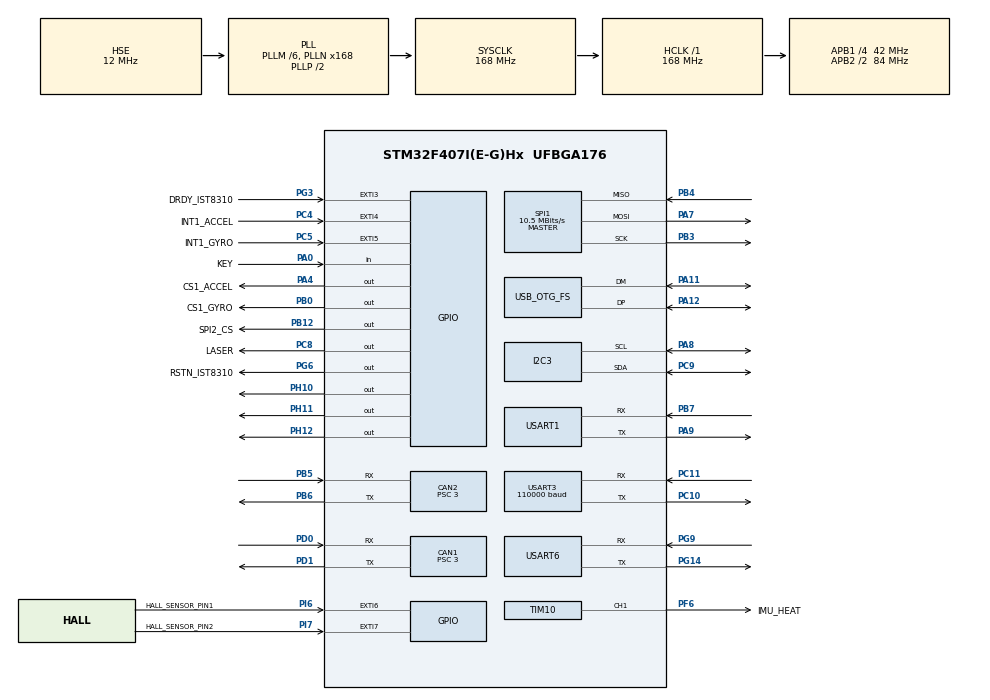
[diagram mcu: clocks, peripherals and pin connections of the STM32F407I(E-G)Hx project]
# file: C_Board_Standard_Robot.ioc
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CAN1.BS1=CAN_BS1_10TQ
CAN1.BS2=CAN_BS2_3TQ
CAN1.CalculateBaudRate=1000000
CAN1.CalculateTimeBit=1000
CAN1.CalculateTimeQuantum=71.42857142857143
CAN1.Prescaler=3
CAN2.BS1=CAN_BS1_10TQ
CAN2.BS2=CAN_BS2_3TQ
CAN2.CalculateBaudRate=1000000
CAN2.CalculateTimeBit=1000
CAN2.CalculateTimeQuantum=71.42857142857143
CAN2.Prescaler=3
Dma.Request0=SPI1_RX
Dma.Request1=SPI1_TX
Dma.Request2=USART1_RX
Dma.Request3=USART1_TX
Dma.Request4=USART3_RX
Dma.Request5=USART3_TX
Dma.Request6=USART6_RX
Dma.Request7=USART6_TX
Dma.SPI1_RX.0.Direction=DMA_PERIPH_TO_MEMORY
Dma.SPI1_RX.0.FIFOMode=DMA_FIFOMODE_DISABLE
Dma.SPI1_RX.0.Instance=DMA2_Stream0
Dma.SPI1_RX.0.MemDataAlignment=DMA_MDATAALIGN_BYTE
Dma.SPI1_RX.0.MemInc=DMA_MINC_ENABLE
Dma.SPI1_RX.0.Mode=DMA_NORMAL
Dma.SPI1_RX.0.PeriphDataAlignment=DMA_PDATAALIGN_BYTE
Dma.SPI1_RX.0.PeriphInc=DMA_PINC_DISABLE
Dma.SPI1_RX.0.Priority=DMA_PRIORITY_VERY_HIGH
Dma.SPI1_TX.1.Direction=DMA_MEMORY_TO_PERIPH
Dma.SPI1_TX.1.FIFOMode=DMA_FIFOMODE_DISABLE
Dma.SPI1_TX.1.Instance=DMA2_Stream3
Dma.SPI1_TX.1.MemDataAlignment=DMA_MDATAALIGN_BYTE
Dma.SPI1_TX.1.MemInc=DMA_MINC_ENABLE
Dma.SPI1_TX.1.Mode=DMA_NORMAL
Dma.SPI1_TX.1.PeriphDataAlignment=DMA_PDATAALIGN_BYTE
Dma.SPI1_TX.1.PeriphInc=DMA_PINC_DISABLE
Dma.SPI1_TX.1.Priority=DMA_PRIORITY_HIGH
Dma.USART1_RX.2.Direction=DMA_PERIPH_TO_MEMORY
Dma.USART1_RX.2.FIFOMode=DMA_FIFOMODE_DISABLE
Dma.USART1_RX.2.Instance=DMA2_Stream2
Dma.USART1_RX.2.MemDataAlignment=DMA_MDATAALIGN_BYTE
Dma.USART1_RX.2.MemInc=DMA_MINC_ENABLE
Dma.USART1_RX.2.Mode=DMA_NORMAL
Dma.USART1_RX.2.PeriphDataAlignment=DMA_PDATAALIGN_BYTE
Dma.USART1_RX.2.PeriphInc=DMA_PINC_DISABLE
Dma.USART1_RX.2.Priority=DMA_PRIORITY_VERY_HIGH
Dma.USART1_TX.3.Direction=DMA_MEMORY_TO_PERIPH
Dma.USART1_TX.3.FIFOMode=DMA_FIFOMODE_DISABLE
Dma.USART1_TX.3.Instance=DMA2_Stream7
Dma.USART1_TX.3.MemDataAlignment=DMA_MDATAALIGN_BYTE
Dma.USART1_TX.3.MemInc=DMA_MINC_ENABLE
Dma.USART1_TX.3.Mode=DMA_NORMAL
Dma.USART1_TX.3.PeriphDataAlignment=DMA_PDATAALIGN_BYTE
Dma.USART1_TX.3.PeriphInc=DMA_PINC_DISABLE
Dma.USART1_TX.3.Priority=DMA_PRIORITY_LOW
Dma.USART3_RX.4.Direction=DMA_PERIPH_TO_MEMORY
Dma.USART3_RX.4.FIFOMode=DMA_FIFOMODE_DISABLE
Dma.USART3_RX.4.Instance=DMA1_Stream1
Dma.USART3_RX.4.MemDataAlignment=DMA_MDATAALIGN_BYTE
Dma.USART3_RX.4.MemInc=DMA_MINC_ENABLE
Dma.USART3_RX.4.Mode=DMA_NORMAL
Dma.USART3_RX.4.PeriphDataAlignment=DMA_PDATAALIGN_BYTE
Dma.USART3_RX.4.PeriphInc=DMA_PINC_DISABLE
Dma.USART3_RX.4.Priority=DMA_PRIORITY_VERY_HIGH
Dma.USART3_TX.5.Direction=DMA_MEMORY_TO_PERIPH
Dma.USART3_TX.5.FIFOMode=DMA_FIFOMODE_DISABLE
Dma.USART3_TX.5.Instance=DMA1_Stream3
Dma.USART3_TX.5.MemDataAlignment=DMA_MDATAALIGN_BYTE
Dma.USART3_TX.5.MemInc=DMA_MINC_ENABLE
Dma.USART3_TX.5.Mode=DMA_NORMAL
Dma.USART3_TX.5.PeriphDataAlignment=DMA_PDATAALIGN_BYTE
Dma.USART3_TX.5.PeriphInc=DMA_PINC_DISABLE
Dma.USART3_TX.5.Priority=DMA_PRIORITY_LOW
Dma.USART6_RX.6.Direction=DMA_PERIPH_TO_MEMORY
Dma.USART6_RX.6.FIFOMode=DMA_FIFOMODE_DISABLE
Dma.USART6_RX.6.Instance=DMA2_Stream1
Dma.USART6_RX.6.MemDataAlignment=DMA_MDATAALIGN_BYTE
Dma.USART6_RX.6.MemInc=DMA_MINC_ENABLE
Dma.USART6_RX.6.Mode=DMA_NORMAL
Dma.USART6_RX.6.PeriphDataAlignment=DMA_PDATAALIGN_BYTE
Dma.USART6_RX.6.PeriphInc=DMA_PINC_DISABLE
Dma.USART6_RX.6.Priority=DMA_PRIORITY_LOW
Dma.USART6_TX.7.Direction=DMA_MEMORY_TO_PERIPH
Dma.USART6_TX.7.FIFOMode=DMA_FIFOMODE_DISABLE
Dma.USART6_TX.7.Instance=DMA2_Stream6
Dma.USART6_TX.7.MemDataAlignment=DMA_MDATAALIGN_BYTE
Dma.USART6_TX.7.MemInc=DMA_MINC_ENABLE
Dma.USART6_TX.7.Mode=DMA_NORMAL
Dma.USART6_TX.7.PeriphDataAlignment=DMA_PDATAALIGN_BYTE
Dma.USART6_TX.7.PeriphInc=DMA_PINC_DISABLE
Dma.USART6_TX.7.Priority=DMA_PRIORITY_LOW
FREERTOS.INCLUDE_eTaskGetState=1
FREERTOS.INCLUDE_pcTaskGetTaskName=1
FREERTOS.INCLUDE_uxTaskGetStackHighWaterMark=1
FREERTOS.INCLUDE_vTaskCleanUpResources=1
FREERTOS.INCLUDE_vTaskDelayUntil=1
FREERTOS.INCLUDE_xEventGroupSetBitFromISR=1
FREERTOS.INCLUDE_xQueueGetMutexHolder=1
FREERTOS.INCLUDE_xSemaphoreGetMutexHolder=1
FREERTOS.INCLUDE_xTaskAbortDelay=1
FREERTOS.INCLUDE_xTaskGetCurrentTaskHandle=1
FREERTOS.INCLUDE_xTaskGetHandle=1
FREERTOS.INCLUDE_xTimerPendFunctionCall=1
FREERTOS.Tasks01=INSTask,0,1024,StartINSTask,Default,NULL,Dynamic,NULL,NULL
FREERTOS.configTOTAL_HEAP_SIZE=24576
I2C3.I2C_Mode=I2C_Fast
Mcu.Family=STM32F4
Mcu.Name=STM32F407I(E-G)Hx
Mcu.Package=UFBGA176
NVIC.CAN1_RX0_IRQn=true\:5\:0\:false\:false\:true\:true\:true\:true\:true
NVIC.CAN1_TX_IRQn=true\:5\:0\:false\:false\:true\:true\:true\:true\:true
NVIC.CAN2_RX0_IRQn=true\:5\:0\:false\:false\:true\:true\:true\:true\:true
NVIC.CAN2_TX_IRQn=true\:5\:0\:false\:false\:true\:true\:true\:true\:true
NVIC.DMA1_Stream1_IRQn=true\:5\:0\:false\:false\:true\:true\:false\:true\:true
NVIC.DMA1_Stream3_IRQn=true\:5\:0\:false\:false\:true\:true\:false\:true\:true
NVIC.DMA2_Stream0_IRQn=true\:5\:0\:false\:false\:true\:true\:false\:true\:true
NVIC.DMA2_Stream1_IRQn=true\:5\:0\:false\:false\:true\:true\:false\:true\:true
NVIC.DMA2_Stream2_IRQn=true\:5\:0\:true\:false\:false\:true\:false\:true\:true
NVIC.DMA2_Stream3_IRQn=true\:5\:0\:true\:false\:false\:true\:false\:true\:true
NVIC.DMA2_Stream6_IRQn=true\:5\:0\:false\:false\:true\:true\:false\:true\:true
NVIC.DMA2_Stream7_IRQn=true\:5\:0\:false\:false\:true\:true\:false\:true\:true
NVIC.EXTI3_IRQn=true\:5\:0\:true\:false\:true\:true\:true\:true\:true
NVIC.EXTI4_IRQn=true\:5\:0\:true\:false\:true\:true\:true\:true\:true
NVIC.EXTI9_5_IRQn=true\:5\:0\:true\:false\:true\:true\:true\:true\:true
NVIC.OTG_FS_IRQn=true\:5\:0\:false\:false\:true\:true\:true\:true\:true
NVIC.PriorityGroup=NVIC_PRIORITYGROUP_4
NVIC.SPI1_IRQn=true\:5\:0\:false\:false\:true\:true\:true\:true\:true
NVIC.TIM1_BRK_TIM9_IRQn=true\:5\:0\:false\:false\:true\:true\:true\:true\:true
NVIC.TIM1_UP_TIM10_IRQn=true\:5\:0\:false\:false\:true\:true\:true\:true\:true
NVIC.TIM3_IRQn=true\:15\:0\:false\:false\:true\:false\:false\:true\:true
NVIC.TIM8_BRK_TIM12_IRQn=true\:5\:0\:false\:false\:true\:true\:true\:true\:true
NVIC.TIM8_UP_TIM13_IRQn=true\:5\:0\:false\:false\:true\:true\:true\:true\:true
NVIC.TimeBase=TIM3_IRQn
NVIC.TimeBaseIP=TIM3
NVIC.USART1_IRQn=true\:5\:0\:false\:false\:true\:true\:true\:true\:true
NVIC.USART3_IRQn=true\:5\:0\:false\:false\:true\:true\:true\:true\:true
NVIC.USART6_IRQn=true\:5\:0\:false\:false\:true\:true\:true\:true\:true
PA0-WKUP.GPIO_Label=KEY
PA0-WKUP.GPIO_PuPd=GPIO_PULLUP
PA0-WKUP.Signal=GPIO_Input
PA11.Mode=Device_Only
PA11.Signal=USB_OTG_FS_DM
PA12.Mode=Device_Only
PA12.Signal=USB_OTG_FS_DP
PA13.Mode=Serial_Wire
PA13.Signal=SYS_JTMS-SWDIO
PA14.Mode=Serial_Wire
PA14.Signal=SYS_JTCK-SWCLK
PA4.GPIO_Label=CS1_ACCEL
PA4.GPIO_PuPd=GPIO_PULLUP
PA4.GPIO_Speed=GPIO_SPEED_FREQ_HIGH
PA4.PinState=GPIO_PIN_SET
PA4.Signal=GPIO_Output
PA7.GPIO_PuPd=GPIO_PULLUP
PA7.Mode=Full_Duplex_Master
PA7.Signal=SPI1_MOSI
PA8.Mode=I2C
PA8.Signal=I2C3_SCL
PA9.Mode=Asynchronous
PA9.Signal=USART1_TX
PB0.GPIO_Label=CS1_GYRO
PB0.GPIO_PuPd=GPIO_PULLUP
PB0.GPIO_Speed=GPIO_SPEED_FREQ_HIGH
PB0.PinState=GPIO_PIN_SET
PB0.Signal=GPIO_Output
PB12.GPIO_Label=SPI2_CS
PB12.GPIO_PuPd=GPIO_PULLUP
PB12.GPIO_Speed=GPIO_SPEED_FREQ_MEDIUM
PB12.PinState=GPIO_PIN_SET
PB12.Signal=GPIO_Output
PB3.GPIO_PuPd=GPIO_PULLUP
PB3.Mode=Full_Duplex_Master
PB3.Signal=SPI1_SCK
PB4.GPIO_PuPd=GPIO_PULLUP
PB4.Mode=Full_Duplex_Master
PB4.Signal=SPI1_MISO
PB5.Mode=CAN_Activate
PB5.Signal=CAN2_RX
PB6.Mode=CAN_Activate
PB6.Signal=CAN2_TX
PB7.Mode=Asynchronous
PB7.Signal=USART1_RX
PC10.Mode=Asynchronous
PC10.Signal=USART3_TX
PC11.Mode=Asynchronous
PC11.Signal=USART3_RX
PC4.GPIO_Label=INT1_ACCEL
PC4.GPIO_ModeDefaultEXTI=GPIO_MODE_IT_FALLING
PC4.GPIO_PuPd=GPIO_PULLUP
PC4.Signal=GPXTI4
PC5.GPIO_Label=INT1_GYRO
PC5.GPIO_ModeDefaultEXTI=GPIO_MODE_IT_FALLING
PC5.GPIO_PuPd=GPIO_PULLUP
PC5.Signal=GPXTI5
PC8.GPIO_Label=LASER
PC8.Signal=GPIO_Output
PC9.Mode=I2C
PC9.Signal=I2C3_SDA
PD0.Mode=CAN_Activate
PD0.Signal=CAN1_RX
PD1.Mode=CAN_Activate
PD1.Signal=CAN1_TX
PF6.GPIO_Label=IMU_HEAT
PF6.GPIO_PuPd=GPIO_PULLUP
PF6.GPIO_Speed=GPIO_SPEED_FREQ_HIGH
PF6.Signal=S_TIM10_CH1
PG14.Mode=Asynchronous
PG14.Signal=USART6_TX
PG3.GPIO_Label=DRDY_IST8310
PG3.GPIO_ModeDefaultEXTI=GPIO_MODE_IT_FALLING
PG3.GPIO_PuPd=GPIO_PULLUP
PG3.Signal=GPXTI3
PG6.GPIO_Label=RSTN_IST8310
PG6.GPIO_PuPd=GPIO_PULLUP
PG6.GPIO_Speed=GPIO_SPEED_FREQ_MEDIUM
PG6.PinState=GPIO_PIN_SET
PG6.Signal=GPIO_Output
PG9.Mode=Asynchronous
PG9.Signal=USART6_RX
PH0-OSC_IN.Mode=HSE-External-Oscillator
PH0-OSC_IN.Signal=RCC_OSC_IN
PH1-OSC_OUT.Mode=HSE-External-Oscillator
PH1-OSC_OUT.Signal=RCC_OSC_OUT
PH10.Signal=GPIO_Output
PH11.Signal=GPIO_Output
PH12.Signal=GPIO_Output
PI6.GPIO_Label=HALL_SENSOR_PIN1
PI6.Signal=GPXTI6
PI7.GPIO_Label=HALL_SENSOR_PIN2
PI7.Signal=GPXTI7
ProjectManager.HeapSize=0x2000
ProjectManager.StackSize=0x2000
ProjectManager.TargetToolchain=MDK-ARM V5.32
RCC.48MHZClocksFreq_Value=48000000
RCC.AHBFreq_Value=168000000
RCC.APB1CLKDivider=RCC_HCLK_DIV4
RCC.APB1Freq_Value=42000000
RCC.APB1TimFreq_Value=84000000
RCC.APB2CLKDivider=RCC_HCLK_DIV2
RCC.APB2Freq_Value=84000000
RCC.APB2TimFreq_Value=168000000
RCC.CortexFreq_Value=168000000
RCC.HCLKFreq_Value=168000000
RCC.HSE_VALUE=12000000
RCC.HSI_VALUE=16000000
RCC.LSE_VALUE=32768
RCC.PLLM=6
RCC.PLLN=168
RCC.PLLQ=7
RCC.RCC_RTC_Clock_SourceVirtual=RCC_RTCCLKSOURCE_HSE_DIV30
RCC.RCC_RTC_Clock_Source_FROM_HSE=RCC_RTCCLKSOURCE_HSE_DIV30
RCC.SYSCLKFreq_VALUE=168000000
RCC.SYSCLKSource=RCC_SYSCLKSOURCE_PLLCLK
RCC.VCOOutputFreq_Value=336000000
SH.S_TIM10_CH1.0=TIM10_CH1,PWM Generation1 CH1
SPI1.BaudRatePrescaler=SPI_BAUDRATEPRESCALER_8
SPI1.CLKPhase=SPI_PHASE_2EDGE
SPI1.CLKPolarity=SPI_POLARITY_HIGH
SPI1.CalculateBaudRate=10.5 MBits/s
SPI1.Direction=SPI_DIRECTION_2LINES
SPI1.Mode=SPI_MODE_MASTER
SPI1.VirtualType=VM_MASTER
TIM1.Period=100-1
TIM1.Prescaler=16800-1
TIM10.Channel=TIM_CHANNEL_1
TIM10.Period=2000-1
TIM10.Prescaler=84-1
TIM2.Period=100-1
TIM2.Prescaler=8400
TIM8.Period=100-1
TIM8.Prescaler=16800-1
TIM9.Period=100-1
TIM9.Prescaler=16800-1
USART1.VirtualMode=VM_ASYNC
USART3.BaudRate=110000
USART3.VirtualMode=VM_ASYNC
USART6.VirtualMode=VM_ASYNC
USB_DEVICE.CLASS_NAME_FS=CDC
USB_DEVICE.VirtualMode-CDC_FS=Cdc
USB_DEVICE.VirtualModeFS=Cdc_FS
USB_OTG_FS.VirtualMode=Device_Only
VP_FREERTOS_VS_CMSIS_V1.Mode=CMSIS_V1
VP_SYS_VS_tim3.Mode=TIM3
VP_TIM10_VS_ClockSourceINT.Mode=Enable_Timer
VP_TIM1_VS_ClockSourceINT.Mode=Internal
VP_TIM2_VS_ClockSourceINT.Mode=Internal
VP_TIM8_VS_ClockSourceINT.Mode=Internal
VP_TIM9_VS_ClockSourceINT.Mode=Internal
VP_USB_DEVICE_VS_USB_DEVICE_CDC_FS.Mode=CDC_FS
board=custom

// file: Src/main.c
/* USER CODE BEGIN Header */
/**
  ******************************************************************************
  * @file           : main.c
  * @brief          : Main program body
  ******************************************************************************
  * @attention
  *
  * Copyright (c) 2022 STMicroelectronics.
  * All rights reserved.
  *
  * This software is licensed under terms that can be found in the LICENSE file
  * in the root directory of this software component.
  * If no LICENSE file comes with this software, it is provided AS-IS.
  *
  ******************************************************************************
  */
/* USER CODE END Header */
#include "main.h"
#include "cmsis_os.h"
#include "can.h"
#include "dma.h"
#include "i2c.h"
#include "spi.h"
#include "tim.h"
#include "usart.h"
#include "usb_device.h"
#include "gpio.h"

/* USER CODE BEGIN Includes */
#include "remote_control.h"
#include "Can_user.h"
#include "ins_task.h"
/* USER CODE END Includes */

/* USER CODE BEGIN PTD */
//全局变量
uint16_t can_cnt_1;
uint16_t can_cnt_2;
float target_speed[7];//实测最大空载转速320rpm
float target_speed_can_2[7];//实测最大空载转速320rpm
moto_info_t motor_info[MOTOR_MAX_NUM];		//赋予最大的7个字节
moto_info_t motor_info_can_2[MOTOR_MAX_NUM];		//赋予最大的7个字节
pid_struct_t motor_pid[7];
pid_struct_t motor_pid_can_2[7];
pid_struct_t angle_pid;
extern uint8_t rx_buff_sj[100];

uint8_t can_flag=0;
double step=9158/660;
double r;
double sin_sita;
double cos_sita;
double target_v;
int16_t target_int1;
int16_t target_int2;//用于叠加旋转和直行
double target_curl;
float yuntai_step=60*(1024-364);

//Yaw轴
int16_t target_angle=4096;
int16_t err_angle;
float small;
float angle_limit =8191;//转角的最大值

//摩擦轮
uint8_t             rx_data[8];

//磁力计
fp32 mag[3];

//加速度计和陀螺仪
fp32 gyro[3], accel[3], temp;
uint8_t buf_accel[8]={0};
uint8_t buf_gyro[8]={0};
uint8_t pTxData;
uint8_t pRxData;
float quat[4] = {1.0f, 0.0f, 0.0f, 0.0f};
float INS_angle[3] = {0.0f, 0.0f, 0.0f};

//加速度计解算欧拉角
float roll_accel;
float pitch_accel;

//陀螺仪解算矩阵变量
//float gyro_vector[3]={0};//陀螺仪数据存储
//arm_matrix_instance_f32 gyro_matrix;//矩阵结构体

//四元素
float q0=1;
float q1=0;
float q2=0;
float q3=0;
float T;
float halfT=0.0005;
float pitch;
float roll;
float yaw;

//一些姿态解算辅助变量
						float norm;
						float gx, gy, gz;//陀螺仪
						float ax, ay, az;//加速度计
						float vx, vy, vz, wx, wy, wz;
						float ex, ey, ez;
						float exInt, eyInt, ezInt;
						float Kp=0, Ki=0;

/* USER CODE END PTD */

void SystemClock_Config(void);
void MX_FREERTOS_Init(void);

int main(void)
{

  /* MCU Configuration--------------------------------------------------------*/

  /* Reset of all peripherals, Initializes the Flash interface and the Systick. */
  HAL_Init();

  /* Configure the system clock */
  SystemClock_Config();

  /* Initialize all configured peripherals */
  MX_GPIO_Init();
  MX_DMA_Init();
  MX_SPI1_Init();
  MX_TIM10_Init();
  MX_CAN1_Init();
  MX_CAN2_Init();
  MX_I2C3_Init();
  MX_TIM1_Init();
  MX_TIM2_Init();
  MX_TIM8_Init();
  MX_TIM9_Init();
  MX_USART1_UART_Init();
  MX_USART3_UART_Init();
  MX_USART6_UART_Init();
  /* USER CODE BEGIN 2 */
		  __HAL_UART_ENABLE_IT(&huart1, UART_IT_IDLE);
	HAL_UART_Receive_DMA(&huart1, rx_buff_sj, 100);
	HAL_TIM_PWM_Start(&htim10,TIM_CHANNEL_1);

		HAL_TIM_PWM_Init(&htim1);
		HAL_TIM_Base_Start_IT(&htim1);
	HAL_TIM_PWM_Start(&htim1,TIM_CHANNEL_1);
	__HAL_TIM_SetCompare(&htim1,TIM_CHANNEL_1,3000);
	//ist8310_init();
	HAL_NVIC_SetPriority(TIM2_IRQn, 0, 0);//修改TIM2中断优先级
	can_1_user_init(&hcan1);//配置can1的过滤器
	can_2_user_init(&hcan2);//配置can2的过滤器,过滤器bank不一样
	HAL_NVIC_SetPriority(SysTick_IRQn,1,1);//调高HAL_Delay的时钟中断优先级

	HAL_TIM_Base_Start_IT(&htim1);//开启定时器1并打开中断,记得修改优先级
		    DWT_Init(168);
    while (BMI088_init(&hspi1, 1) != BMI088_NO_ERROR)
        ;
	HAL_GPIO_WritePin(GPIOC,GPIO_PIN_8,GPIO_PIN_SET);
  /* USER CODE END 2 */

  /* Call init function for freertos objects (in freertos.c) */
  MX_FREERTOS_Init();

  /* Start scheduler */
  osKernelStart();

  /* We should never get here as control is now taken by the scheduler */
  /* Infinite loop */
  while (1)
  {

  }
}

void SystemClock_Config(void)
{
  RCC_OscInitTypeDef RCC_OscInitStruct = {0};
  RCC_ClkInitTypeDef RCC_ClkInitStruct = {0};

  /** Configure the main internal regulator output voltage
  */
  __HAL_RCC_PWR_CLK_ENABLE();
  __HAL_PWR_VOLTAGESCALING_CONFIG(PWR_REGULATOR_VOLTAGE_SCALE1);

  /** Initializes the RCC Oscillators according to the specified parameters
  * in the RCC_OscInitTypeDef structure.
  */
  RCC_OscInitStruct.OscillatorType = RCC_OSCILLATORTYPE_HSE;
  RCC_OscInitStruct.HSEState = RCC_HSE_ON;
  RCC_OscInitStruct.PLL.PLLState = RCC_PLL_ON;
  RCC_OscInitStruct.PLL.PLLSource = RCC_PLLSOURCE_HSE;
  RCC_OscInitStruct.PLL.PLLM = 6;
  RCC_OscInitStruct.PLL.PLLN = 168;
  RCC_OscInitStruct.PLL.PLLP = RCC_PLLP_DIV2;
  RCC_OscInitStruct.PLL.PLLQ = 7;
  if (HAL_RCC_OscConfig(&RCC_OscInitStruct) != HAL_OK)
  {
    Error_Handler();
  }

  /** Initializes the CPU, AHB and APB buses clocks
  */
  RCC_ClkInitStruct.ClockType = RCC_CLOCKTYPE_HCLK|RCC_CLOCKTYPE_SYSCLK
                              |RCC_CLOCKTYPE_PCLK1|RCC_CLOCKTYPE_PCLK2;
  RCC_ClkInitStruct.SYSCLKSource = RCC_SYSCLKSOURCE_PLLCLK;
  RCC_ClkInitStruct.AHBCLKDivider = RCC_SYSCLK_DIV1;
  RCC_ClkInitStruct.APB1CLKDivider = RCC_HCLK_DIV4;
  RCC_ClkInitStruct.APB2CLKDivider = RCC_HCLK_DIV2;

  if (HAL_RCC_ClockConfig(&RCC_ClkInitStruct, FLASH_LATENCY_5) != HAL_OK)
  {
    Error_Handler();
  }
}

void HAL_TIM_PeriodElapsedCallback(TIM_HandleTypeDef *htim)
{
  if (htim->Instance == TIM3) {
    HAL_IncTick();
  }
}

void Error_Handler(void)
{
  __disable_irq();
  while (1)
  {
  }
}

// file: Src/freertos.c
/* USER CODE BEGIN Header */
/**
 ******************************************************************************
 * File Name          : freertos.c
 * Description        : Code for freertos applications
 ******************************************************************************
 * @attention
 *
 * <h2><center>&copy; Copyright (c) 2021 STMicroelectronics.
 * All rights reserved.</center></h2>
 *
 * This software component is licensed by ST under Ultimate Liberty license
 * SLA0044, the "License"; You may not use this file except in compliance with
 * the License. You may obtain a copy of the License at:
 *                             www.st.com/SLA0044
 *
 ******************************************************************************
 */
/* USER CODE END Header */

#include "FreeRTOS.h"
#include "task.h"
#include "main.h"
#include "cmsis_os.h"

/* USER CODE BEGIN Includes */
#include "Yaw_task.h"
#include "StartDefaultTask.h"
#include "Pitch_task.h"
#include "Exchange_task.h"
#include "Friction_task.h"
#include "INS_task.h"
#include "exchange.h"

/* USER CODE END Includes */

osThreadId INSTaskHandle;

/* USER CODE BEGIN FunctionPrototypes */
osThreadId insTaskHandle;
osThreadId fixTaskHandle;
osThreadId defaultTaskHandle;
osThreadId myTask02Handle;
osThreadId myTask03Handle;
osThreadId myTask04Handle;
osThreadId exchangeTaskHandle;
osThreadId yawangleTaskHandle;
/* USER CODE END FunctionPrototypes */

void StartINSTask(void const * argument);

extern void MX_USB_DEVICE_Init(void);
void MX_FREERTOS_Init(void); /* (MISRA C 2004 rule 8.1) */

/* GetIdleTaskMemory prototype (linked to static allocation support) */
void vApplicationGetIdleTaskMemory( StaticTask_t **ppxIdleTaskTCBBuffer, StackType_t **ppxIdleTaskStackBuffer, uint32_t *pulIdleTaskStackSize );

/* GetTimerTaskMemory prototype (linked to static allocation support) */
void vApplicationGetTimerTaskMemory( StaticTask_t **ppxTimerTaskTCBBuffer, StackType_t **ppxTimerTaskStackBuffer, uint32_t *pulTimerTaskStackSize );

/* USER CODE BEGIN GET_IDLE_TASK_MEMORY */
static StaticTask_t xIdleTaskTCBBuffer;
static StackType_t xIdleStack[configMINIMAL_STACK_SIZE];

void vApplicationGetIdleTaskMemory(StaticTask_t **ppxIdleTaskTCBBuffer, StackType_t **ppxIdleTaskStackBuffer, uint32_t *pulIdleTaskStackSize)
{
    *ppxIdleTaskTCBBuffer = &xIdleTaskTCBBuffer;
    *ppxIdleTaskStackBuffer = &xIdleStack[0];
    *pulIdleTaskStackSize = configMINIMAL_STACK_SIZE;
    /* place for user code */
}
/* USER CODE END GET_IDLE_TASK_MEMORY */

/* USER CODE BEGIN GET_TIMER_TASK_MEMORY */
static StaticTask_t xTimerTaskTCBBuffer;
static StackType_t xTimerStack[configTIMER_TASK_STACK_DEPTH];

void vApplicationGetTimerTaskMemory(StaticTask_t **ppxTimerTaskTCBBuffer, StackType_t **ppxTimerTaskStackBuffer, uint32_t *pulTimerTaskStackSize)
{
    *ppxTimerTaskTCBBuffer = &xTimerTaskTCBBuffer;
    *ppxTimerTaskStackBuffer = &xTimerStack[0];
    *pulTimerTaskStackSize = configTIMER_TASK_STACK_DEPTH;
    /* place for user code */
}
/* USER CODE END GET_TIMER_TASK_MEMORY */

void MX_FREERTOS_Init(void) {

  /* Create the thread(s) */
  /* definition and creation of INSTask */
  osThreadDef(INSTask, StartINSTask, osPriorityNormal, 0, 1024);
  INSTaskHandle = osThreadCreate(osThread(INSTask), NULL);

  /* USER CODE BEGIN RTOS_THREADS */
	osThreadDef(defaultTask, StartDefaultTask, osPriorityNormal, 0, 128);
  defaultTaskHandle = osThreadCreate(osThread(defaultTask), NULL);

  /* definition and creation of myTask02 */
  //osThreadDef(myTask02, Pitch_task, osPriorityRealtime, 0, 256);
  //myTask02Handle = osThreadCreate(osThread(myTask02), NULL);

  /* definition and creation of myTask03 */
  osThreadDef(myTask03, Exchange_task, osPriorityRealtime, 0, 512);
  myTask03Handle = osThreadCreate(osThread(myTask03), NULL);

  osThreadDef(myTask04, Friction_task, osPriorityRealtime, 0, 512);
  myTask04Handle = osThreadCreate(osThread(myTask04), NULL);

	osThreadDef(exchangeTask, exchangeangle_task, osPriorityNormal, 0, 512);
  exchangeTaskHandle = osThreadCreate(osThread(exchangeTask), NULL);

	osThreadDef(yawtask, Yaw_angle_task, osPriorityRealtime, 0, 512);		//??????????��?????
  fixTaskHandle = osThreadCreate(osThread(yawtask), NULL);
		//osThreadDef(yawtask, Yaw_angle_task, osPriorityRealtime, 0, 512);		//??????????��?????
 // fixTaskHandle = osThreadCreate(osThread(yawtask), NULL);
	//osThreadDef(yawangletask, Yaw_angle_task, osPriorityRealtime, 0, 128);		//??????????��?????
  //yawangleTaskHandle = osThreadCreate(osThread(yawangletask), NULL);

    /* add threads, ... */
  /* USER CODE END RTOS_THREADS */

}

void StartINSTask(void const * argument)
{
  /* init code for USB_DEVICE */
  MX_USB_DEVICE_Init();
  /* USER CODE BEGIN StartINSTask */
    INS_Init();
    /* Infinite loop */
    for (;;)
    {
        INS_Task();
        osDelay(1);
    }
  /* USER CODE END StartINSTask */
}
